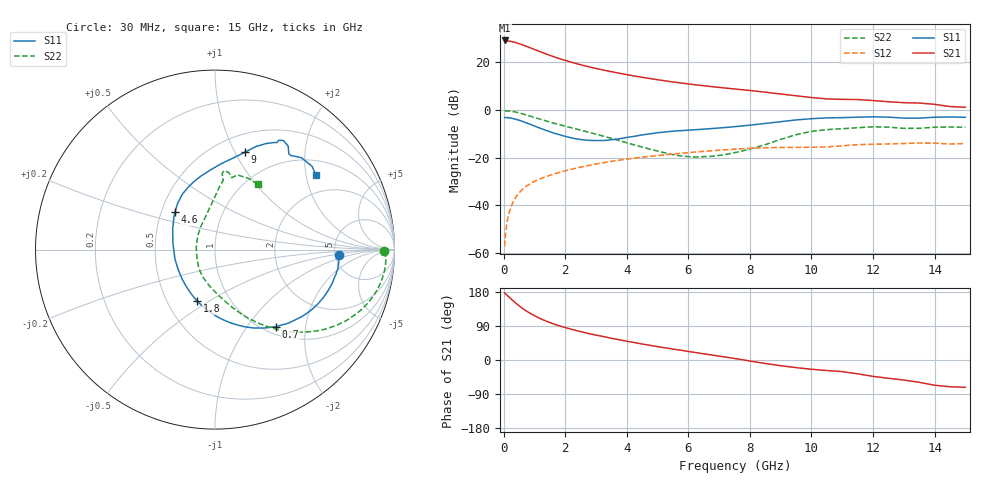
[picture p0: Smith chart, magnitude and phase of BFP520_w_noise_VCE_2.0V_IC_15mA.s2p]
! Infineon Technologies  Discrete & RF Semiconductors
! BFP520
! VCE =  2.0 V,  IC =  15 mA
! Common Emitter S-Parameters:  Oct 2015
# GHz  S  MA  R  50
!  f  S11  S21  S12  S22
! GHz  MAG  ANG  MAG  ANG  MAG  ANG  MAG  ANG
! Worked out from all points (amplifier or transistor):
!   109 points, 30 MHz to 15 GHz, reference 50 ohm
!   highest |S21| = 29.1 dB at 30 MHz (marker M1)
!   |S21| within 3 dB of that: start of sweep to 844.5 MHz
!   unconditionally stable (mu >= 1): 3.094 GHz to end of sweep
!   at 450 MHz: K = 0.29, MSG = 31.8 dB, |S12| = -35.5 dB
!   at 4 GHz: K = 1.08, MAG = 15.9 dB, |S12| = -20.6 dB
!   at 15 GHz: K = 1.27, MAG = 4.5 dB, |S12| = -14.1 dB
!   lowest NFmin = 1.81 dB at 900 MHz
!   S11 on the Smith chart (normalised r, x): 30 MHz: 5.45, -0.61; 700 MHz: 1.13, -1.39; 1.8 GHz: 0.70, -0.45; 4.6 GHz: 0.59, +0.27; 9 GHz: 0.69, +1.10; 15 GHz: 1.39, +2.28
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0.03  0.6932 -2.4  28.52 177.1  0.0014 87.4  0.9442 -0.6
0.05  0.6938 -3.6  28.23 175.1  0.0022 86.9  0.95 -1.7
0.2  0.6799 -16.0  27.51 164.1  0.0079 81.3  0.9452 -10.0
0.35  0.649 -27.6  26.15 153.2  0.0133 77.2  0.9123 -17.6
0.5  0.6082 -38.3  24.41 143.3  0.0183 73.4  0.8662 -24.3
0.6  0.5788 -45.1  23.21 137.0  0.0214 71.0  0.8316 -28.4
0.7  0.5475 -51.5  21.95 131.3  0.0243 69.0  0.7961 -32.1
0.8  0.5172 -57.6  20.71 126.1  0.0269 67.1  0.7611 -35.5
1  0.4605 -69.0  18.45 116.9  0.0318 64.2  0.6942 -41.3
1.2  0.4109 -79.4  16.42 108.9  0.0364 62.0  0.6345 -46.3
1.5  0.3493 -94.5  13.93 98.8  0.0427 59.3  0.5575 -52.6
1.8  0.3041 -109.0  11.96 90.5  0.0489 57.1  0.4934 -57.9
2.2  0.2599 -128.4  9.978 81.1  0.0572 54.2  0.4232 -64.2
2.6  0.2357 -148.2  8.506 72.9  0.0654 51.4  0.3633 -70.2
3.5  0.2378 170.9  6.311 57.2  0.0837 44.0  0.2533 -86.1
4.6  0.3057 136.8  4.71 40.8  0.1039 34.3  0.1602 -117.0
5.1  0.3379 126.6  4.198 34.0  0.1123 30.1  0.1323 -134.1
7.6  0.4522 91.4  2.708 2.7  0.1518 7.6  0.1311 133.4
9  0.5668 73.0  2.158 -15.1  0.1635 -6.6  0.2415 96.2
10.5  0.6814 61.1  1.7 -27.7  0.1681 -15.6  0.3868 83.3
13  0.6742 52.4  1.418 -52.9  0.198 -36.5  0.4111 76.9
15  0.7009 36.6  1.138 -72.1  0.1978 -52.7  0.4346 56.6
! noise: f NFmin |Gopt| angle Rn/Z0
0.45  1.82  0.2  1  0.28
0.9  1.81  0.19  5  0.3
1.9  1.97  0.18  8  0.27
2.4  1.97  0.14  17  0.27
3.5  1.91  0.1  38  0.28
